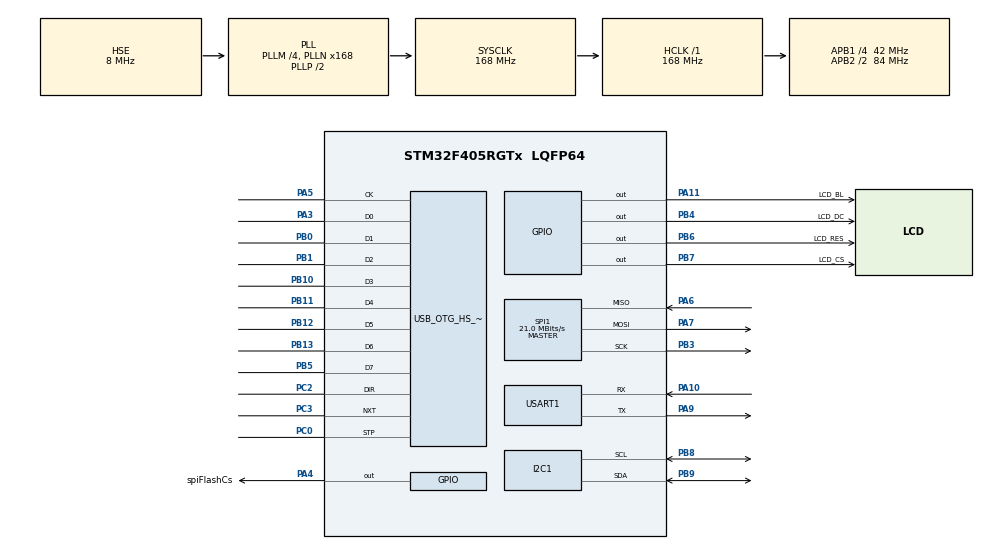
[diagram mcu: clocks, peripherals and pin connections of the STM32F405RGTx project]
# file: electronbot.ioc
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Dma.Request0=USART1_RX
Dma.Request1=USART1_TX
Dma.Request2=SPI1_TX
Dma.SPI1_TX.2.Direction=DMA_MEMORY_TO_PERIPH
Dma.SPI1_TX.2.FIFOMode=DMA_FIFOMODE_DISABLE
Dma.SPI1_TX.2.Instance=DMA2_Stream3
Dma.SPI1_TX.2.MemDataAlignment=DMA_MDATAALIGN_BYTE
Dma.SPI1_TX.2.MemInc=DMA_MINC_ENABLE
Dma.SPI1_TX.2.Mode=DMA_NORMAL
Dma.SPI1_TX.2.PeriphDataAlignment=DMA_PDATAALIGN_BYTE
Dma.SPI1_TX.2.PeriphInc=DMA_PINC_DISABLE
Dma.SPI1_TX.2.Priority=DMA_PRIORITY_LOW
Dma.USART1_RX.0.Direction=DMA_PERIPH_TO_MEMORY
Dma.USART1_RX.0.FIFOMode=DMA_FIFOMODE_DISABLE
Dma.USART1_RX.0.Instance=DMA2_Stream2
Dma.USART1_RX.0.MemDataAlignment=DMA_MDATAALIGN_BYTE
Dma.USART1_RX.0.MemInc=DMA_MINC_ENABLE
Dma.USART1_RX.0.Mode=DMA_CIRCULAR
Dma.USART1_RX.0.PeriphDataAlignment=DMA_PDATAALIGN_BYTE
Dma.USART1_RX.0.PeriphInc=DMA_PINC_DISABLE
Dma.USART1_RX.0.Priority=DMA_PRIORITY_LOW
Dma.USART1_TX.1.Direction=DMA_MEMORY_TO_PERIPH
Dma.USART1_TX.1.FIFOMode=DMA_FIFOMODE_DISABLE
Dma.USART1_TX.1.Instance=DMA2_Stream7
Dma.USART1_TX.1.MemDataAlignment=DMA_MDATAALIGN_BYTE
Dma.USART1_TX.1.MemInc=DMA_MINC_ENABLE
Dma.USART1_TX.1.Mode=DMA_NORMAL
Dma.USART1_TX.1.PeriphDataAlignment=DMA_PDATAALIGN_BYTE
Dma.USART1_TX.1.PeriphInc=DMA_PINC_DISABLE
Dma.USART1_TX.1.Priority=DMA_PRIORITY_LOW
FREERTOS.Tasks01=defaultTask,24,128,StartDefaultTask,Default,NULL,Dynamic,NULL,NULL
FREERTOS.configENABLE_FPU=1
FREERTOS.configTOTAL_HEAP_SIZE=10240
FREERTOS.configUSE_NEWLIB_REENTRANT=0
Mcu.Family=STM32F4
Mcu.Name=STM32F405RGTx
Mcu.Package=LQFP64
NVIC.DMA2_Stream2_IRQn=true\:9\:0\:true\:false\:true\:true\:false\:true\:true
NVIC.DMA2_Stream3_IRQn=true\:6\:0\:true\:false\:true\:true\:false\:true\:true
NVIC.DMA2_Stream7_IRQn=true\:9\:0\:true\:false\:true\:true\:false\:true\:true
NVIC.OTG_HS_EP1_IN_IRQn=true\:5\:0\:false\:false\:true\:true\:true\:true\:true
NVIC.OTG_HS_EP1_OUT_IRQn=true\:5\:0\:false\:false\:true\:true\:true\:true\:true
NVIC.OTG_HS_IRQn=true\:5\:0\:false\:false\:true\:true\:false\:true\:true
NVIC.PriorityGroup=NVIC_PRIORITYGROUP_4
NVIC.SPI1_IRQn=true\:9\:0\:true\:false\:true\:true\:true\:true\:true
NVIC.TIM8_TRG_COM_TIM14_IRQn=true\:15\:0\:false\:false\:true\:false\:false\:true\:true
NVIC.TimeBase=TIM8_TRG_COM_TIM14_IRQn
NVIC.TimeBaseIP=TIM14
NVIC.USART1_IRQn=true\:9\:0\:true\:false\:true\:true\:true\:true\:true
PA10.Mode=Asynchronous
PA10.Signal=USART1_RX
PA11.GPIO_Label=LCD_BL
PA11.Signal=GPIO_Output
PA13.Mode=Serial_Wire
PA13.Signal=SYS_JTMS-SWDIO
PA14.Mode=Serial_Wire
PA14.Signal=SYS_JTCK-SWCLK
PA3.Mode=Device_HS
PA3.Signal=USB_OTG_HS_ULPI_D0
PA4.GPIO_Label=spiFlashCs
PA4.GPIO_PuPd=GPIO_PULLUP
PA4.PinState=GPIO_PIN_SET
PA4.Signal=GPIO_Output
PA5.Mode=Device_HS
PA5.Signal=USB_OTG_HS_ULPI_CK
PA6.Mode=Full_Duplex_Master
PA6.Signal=SPI1_MISO
PA7.Mode=Full_Duplex_Master
PA7.Signal=SPI1_MOSI
PA9.Mode=Asynchronous
PA9.Signal=USART1_TX
PB0.Mode=Device_HS
PB0.Signal=USB_OTG_HS_ULPI_D1
PB1.Mode=Device_HS
PB1.Signal=USB_OTG_HS_ULPI_D2
PB10.Mode=Device_HS
PB10.Signal=USB_OTG_HS_ULPI_D3
PB11.Mode=Device_HS
PB11.Signal=USB_OTG_HS_ULPI_D4
PB12.Mode=Device_HS
PB12.Signal=USB_OTG_HS_ULPI_D5
PB13.Mode=Device_HS
PB13.Signal=USB_OTG_HS_ULPI_D6
PB3.Mode=Full_Duplex_Master
PB3.Signal=SPI1_SCK
PB4.GPIO_Label=LCD_DC
PB4.GPIO_Speed=GPIO_SPEED_FREQ_VERY_HIGH
PB4.Signal=GPIO_Output
PB5.Mode=Device_HS
PB5.Signal=USB_OTG_HS_ULPI_D7
PB6.GPIO_Label=LCD_RES
PB6.GPIO_Speed=GPIO_SPEED_FREQ_VERY_HIGH
PB6.Signal=GPIO_Output
PB7.GPIO_Label=LCD_CS
PB7.GPIO_PuPd=GPIO_PULLUP
PB7.GPIO_Speed=GPIO_SPEED_FREQ_VERY_HIGH
PB7.PinState=GPIO_PIN_SET
PB7.Signal=GPIO_Output
PB8.Mode=I2C
PB8.Signal=I2C1_SCL
PB9.Mode=I2C
PB9.Signal=I2C1_SDA
PC0.Mode=Device_HS
PC0.Signal=USB_OTG_HS_ULPI_STP
PC2.Mode=Device_HS
PC2.Signal=USB_OTG_HS_ULPI_DIR
PC3.Mode=Device_HS
PC3.Signal=USB_OTG_HS_ULPI_NXT
PH0-OSC_IN.Mode=HSE-External-Oscillator
PH0-OSC_IN.Signal=RCC_OSC_IN
PH1-OSC_OUT.Mode=HSE-External-Oscillator
PH1-OSC_OUT.Signal=RCC_OSC_OUT
ProjectManager.HeapSize=0x3c00
ProjectManager.StackSize=0x800
ProjectManager.TargetToolchain=Makefile
RCC.48MHZClocksFreq_Value=84000000
RCC.AHBFreq_Value=168000000
RCC.APB1CLKDivider=RCC_HCLK_DIV4
RCC.APB1Freq_Value=42000000
RCC.APB1TimFreq_Value=84000000
RCC.APB2CLKDivider=RCC_HCLK_DIV2
RCC.APB2Freq_Value=84000000
RCC.APB2TimFreq_Value=168000000
RCC.CortexFreq_Value=168000000
RCC.HCLKFreq_Value=168000000
RCC.HSE_VALUE=8000000
RCC.HSI_VALUE=16000000
RCC.LSE_VALUE=32768
RCC.PLLM=4
RCC.PLLN=168
RCC.PLLSourceVirtual=RCC_PLLSOURCE_HSE
RCC.SYSCLKFreq_VALUE=168000000
RCC.SYSCLKSource=RCC_SYSCLKSOURCE_PLLCLK
RCC.VCOOutputFreq_Value=336000000
SPI1.BaudRatePrescaler=SPI_BAUDRATEPRESCALER_4
SPI1.CLKPhase=SPI_PHASE_1EDGE
SPI1.CLKPolarity=SPI_POLARITY_LOW
SPI1.CRCCalculation=SPI_CRCCALCULATION_DISABLE
SPI1.CalculateBaudRate=21.0 MBits/s
SPI1.Direction=SPI_DIRECTION_2LINES
SPI1.Mode=SPI_MODE_MASTER
SPI1.VirtualType=VM_MASTER
USART1.VirtualMode=VM_ASYNC
USB_DEVICE.CLASS_NAME_HS=MSC
USB_DEVICE.VirtualMode-MSC_HS=Msc
USB_DEVICE.VirtualModeHS=Msc_HS
USB_OTG_HS.VirtualMode-Device_HS=Device_HS
VP_FREERTOS_VS_CMSIS_V2.Mode=CMSIS_V2
VP_SYS_VS_tim14.Mode=TIM14
VP_USB_DEVICE_VS_USB_DEVICE_MSC_HS.Mode=MSC_HS
board=custom

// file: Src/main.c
/* USER CODE BEGIN Header */
/**
  ******************************************************************************
  * @file           : main.c
  * @brief          : Main program body
  ******************************************************************************
  * @attention
  *
  * Copyright (c) 2022 STMicroelectronics.
  * All rights reserved.
  *
  * This software is licensed under terms that can be found in the LICENSE file
  * in the root directory of this software component.
  * If no LICENSE file comes with this software, it is provided AS-IS.
  *
  ******************************************************************************
  */
/* USER CODE END Header */
#include "main.h"
#include "cmsis_os.h"
#include "dma.h"
#include "i2c.h"
#include "spi.h"
#include "usart.h"
#include "usb_device.h"
#include "gpio.h"

/* USER CODE BEGIN Includes */
#include <stdio.h>
#include "w25q32.h"
/* USER CODE END Includes */

/* USER CODE BEGIN PV */
uint8_t i2cRxData[8];
uint8_t i2cTxData[8];
/* USER CODE END PV */

void SystemClock_Config(void);
void MX_FREERTOS_Init(void);

/* USER CODE BEGIN 0 */
void TransmitAndReceiveI2cPacket(uint8_t _id)
{
    HAL_StatusTypeDef state = HAL_ERROR;
    do
    {   printf("tttttt");
        state = HAL_I2C_Master_Transmit(&hi2c1, _id, i2cTxData, 5, 50);
    } while (state != HAL_OK);
    do
    {
        state = HAL_I2C_Master_Receive(&hi2c1, _id, i2cRxData, 5, 50);
    } while (state != HAL_OK);
}

/* int _write(int fd, char *ch, int len)
{
  // int i;
  HAL_UART_Transmit(&huart1, (uint8_t*)ch, len, 0xFFFF);

  return len;
} */
/* USER CODE END 0 */

int main(void)
{
  /* USER CODE BEGIN 1 */
  int i;
  /* USER CODE END 1 */

  /* MCU Configuration--------------------------------------------------------*/

  /* Reset of all peripherals, Initializes the Flash interface and the Systick. */
  HAL_Init();

  /* Configure the system clock */
  SystemClock_Config();

  /* Initialize all configured peripherals */
  MX_GPIO_Init();
  MX_DMA_Init();
  MX_I2C1_Init();
  MX_USART1_UART_Init();
  MX_SPI1_Init();
  /* USER CODE BEGIN 2 */

  /* // while(HAL_DMA_GetState(&hdma_usart1_tx)==HAL_DMA_STATE_BUSY)
  HAL_Delay(1000);
  HAL_UART_Transmit_DMA(&huart1, "tx_buffer", 9);
  // while(HAL_DMA_GetState(&hdma_usart1_tx)==HAL_DMA_STATE_BUSY)
  HAL_Delay(1000);
  HAL_UART_Transmit_DMA(&huart1, "rx_buffer", 9);
  // while(HAL_DMA_GetState(&hdma_usart1_tx)==HAL_DMA_STATE_BUSY)
  HAL_Delay(1000);
  HAL_UART_Transmit_DMA(&huart1, "ex_buffer", 9);
  HAL_Delay(1000);
  printf("ennnnn...\r\n"); */
  SpiFlash_Init();
  printf("hello electronbot coming...\r\n");
 /*  i2cTxData[0]=0x01;
  *(float*)&i2cTxData[1]=30.0f;
  TransmitAndReceiveI2cPacket(12);
  printf("tttt\r\n");
  for(i =0;i<5;i++)
        printf("%.2x ",i2cRxData[i]);
    printf("\r\n");
    while(1); */
  /* USER CODE END 2

  /* Init scheduler */
  osKernelInitialize();  /* Call init function for freertos objects (in freertos.c) */
  MX_FREERTOS_Init();

  /* Start scheduler */
  osKernelStart();

  /* We should never get here as control is now taken by the scheduler */
  /* Infinite loop */
  /* USER CODE BEGIN WHILE */
  while (1)
  {
     /*  HAL_StatusTypeDef sta=HAL_UART_Receive(&huart1, i2cTxData, 6, 0xffffffff);
    if(sta == HAL_OK)
    {
       for(i =0;i<6;i++)
         printf("%.2x ",i2cTxData[i]);
       printf("\r\n");
       TransmitAndReceiveI2cPacket(i2cTxData[5]);
       for(i =0;i<5;i++)
        printf("%.2x ",i2cRxData[i]);
      printf("\r\n");

    } */
    /* USER CODE END WHILE */

  }
}

void SystemClock_Config(void)
{
  RCC_OscInitTypeDef RCC_OscInitStruct = {0};
  RCC_ClkInitTypeDef RCC_ClkInitStruct = {0};

  /** Configure the main internal regulator output voltage
  */
  __HAL_RCC_PWR_CLK_ENABLE();
  __HAL_PWR_VOLTAGESCALING_CONFIG(PWR_REGULATOR_VOLTAGE_SCALE1);

  /** Initializes the RCC Oscillators according to the specified parameters
  * in the RCC_OscInitTypeDef structure.
  */
  RCC_OscInitStruct.OscillatorType = RCC_OSCILLATORTYPE_HSE;
  RCC_OscInitStruct.HSEState = RCC_HSE_ON;
  RCC_OscInitStruct.PLL.PLLState = RCC_PLL_ON;
  RCC_OscInitStruct.PLL.PLLSource = RCC_PLLSOURCE_HSE;
  RCC_OscInitStruct.PLL.PLLM = 4;
  RCC_OscInitStruct.PLL.PLLN = 168;
  RCC_OscInitStruct.PLL.PLLP = RCC_PLLP_DIV2;
  RCC_OscInitStruct.PLL.PLLQ = 4;
  if (HAL_RCC_OscConfig(&RCC_OscInitStruct) != HAL_OK)
  {
    Error_Handler();
  }

  /** Initializes the CPU, AHB and APB buses clocks
  */
  RCC_ClkInitStruct.ClockType = RCC_CLOCKTYPE_HCLK|RCC_CLOCKTYPE_SYSCLK
                              |RCC_CLOCKTYPE_PCLK1|RCC_CLOCKTYPE_PCLK2;
  RCC_ClkInitStruct.SYSCLKSource = RCC_SYSCLKSOURCE_PLLCLK;
  RCC_ClkInitStruct.AHBCLKDivider = RCC_SYSCLK_DIV1;
  RCC_ClkInitStruct.APB1CLKDivider = RCC_HCLK_DIV4;
  RCC_ClkInitStruct.APB2CLKDivider = RCC_HCLK_DIV2;

  if (HAL_RCC_ClockConfig(&RCC_ClkInitStruct, FLASH_LATENCY_5) != HAL_OK)
  {
    Error_Handler();
  }
}

void HAL_TIM_PeriodElapsedCallback(TIM_HandleTypeDef *htim)
{
  if (htim->Instance == TIM14) {
    HAL_IncTick();
  }
}

void Error_Handler(void)
{
  __disable_irq();
  while (1)
  {
  }
}

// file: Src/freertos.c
/* USER CODE BEGIN Header */
/**
  ******************************************************************************
  * File Name          : freertos.c
  * Description        : Code for freertos applications
  ******************************************************************************
  * @attention
  *
  * Copyright (c) 2022 STMicroelectronics.
  * All rights reserved.
  *
  * This software is licensed under terms that can be found in the LICENSE file
  * in the root directory of this software component.
  * If no LICENSE file comes with this software, it is provided AS-IS.
  *
  ******************************************************************************
  */
/* USER CODE END Header */

#include "FreeRTOS.h"
#include "task.h"
#include "main.h"
#include "cmsis_os.h"

/* USER CODE BEGIN Includes */
#include "common_inc.h"
/* USER CODE END Includes */

/* Definitions for defaultTask */
osThreadId_t defaultTaskHandle;
const osThreadAttr_t defaultTask_attributes = {
  .name = "defaultTask",
  .stack_size = 128 * 4,
  .priority = (osPriority_t) osPriorityNormal,
};

void StartDefaultTask(void *argument);

extern void MX_USB_DEVICE_Init(void);
void MX_FREERTOS_Init(void); /* (MISRA C 2004 rule 8.1) */

void MX_FREERTOS_Init(void) {

  /* Create the thread(s) */
  /* creation of defaultTask */
  defaultTaskHandle = osThreadNew(StartDefaultTask, NULL, &defaultTask_attributes);

}

void StartDefaultTask(void *argument)
{
  /* init code for USB_DEVICE */
  MX_USB_DEVICE_Init();
  /* USER CODE BEGIN StartDefaultTask */
  /* Infinite loop */
  Main();
  /* for(;;)
  {
    osDelay(1);
  } */
  vTaskDelete(defaultTaskHandle);
  /* USER CODE END StartDefaultTask */
}
